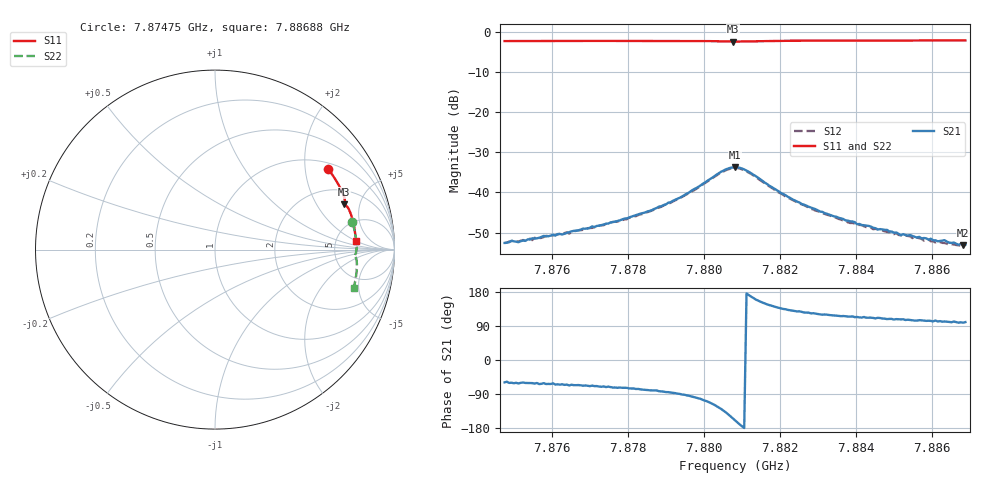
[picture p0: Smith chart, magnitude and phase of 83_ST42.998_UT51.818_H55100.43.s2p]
#  HZ  S  DB  R  50.00
! Rohde & Schwarz Vector Network Analyzer
! Rohde-Schwarz,ZNB20-2Port,1311601062101988,3.16
! Created: UTC 1/12/2023, 6:35:22 PM
! freq[Hz]  db:S11  ang:S11  db:S21  ang:S21  db:S12  ang:S12  db:S22  ang:S22
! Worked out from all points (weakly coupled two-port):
!   201 points, 7.87475 GHz to 7.88688 GHz, reference 50 ohm
!   highest |S21| = -33.74 dB at 7.88081 GHz (marker M1); lowest = -53.1 dB at 7.88682 GHz (marker M2)
!   lowest |S11| = -2.4 dB at 7.88075 GHz (marker M3), VSWR 7.43, Z = 148 + j178 ohm
!   |S11| at or under -10 dB: nowhere
!   |S22| runs from -2.2 to -1.9 dB; largest |S21 - S12| = 0.0014
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7.874746e9  -2.23 35.2  -52.59 -59.0  -52.63 -60.6  -2.15 11.2
7.876263e9  -2.21 31.1  -50.50 -64.0  -50.48 -67.8  -2.10 7.6
7.876809e9  -2.20 29.6  -49.04 -67.8  -49.33 -71.0  -2.09 6.3
7.877779e9  -2.19 27.0  -46.97 -72.5  -47.07 -76.4  -2.06 4.1
7.87881e9  -2.18 24.1  -43.52 -82.4  -43.79 -86.0  -2.05 1.6
7.879356e9  -2.19 22.5  -41.33 -89.4  -41.38 -92.8  -2.07 0.3
7.880448e9  -2.30 19.6  -34.82 -129.3  -35.06 -132.8  -2.17 -2.3
7.880751e9  -2.35 19.2  -33.78 -153.8  -33.92 -157.0  -2.22 -2.5
7.880812e9  -2.35 19.2  -33.74 -158.8  -33.93 -162.4  -2.22 -2.5
7.881115e9  -2.31 19.0  -34.55 175.5  -34.72 172.4  -2.19 -2.6
7.882025e9  -2.17 16.7  -40.16 136.1  -40.28 132.7  -2.03 -4.4
7.882874e9  -2.13 14.3  -43.98 123.4  -44.28 119.9  -1.99 -6.4
7.884026e9  -2.11 11.2  -47.95 113.5  -48.10 110.7  -1.96 -9.1
7.884875e9  -2.10 8.9  -49.75 108.5  -49.96 104.7  -1.94 -11.0
7.885179e9  -2.09 8.1  -50.69 107.1  -50.70 103.5  -1.94 -11.6
7.885482e9  -2.09 7.3  -50.85 105.0  -51.40 101.7  -1.93 -12.3
7.885543e9  -2.09 7.2  -51.09 104.0  -51.00 103.1  -1.93 -12.4
7.885785e9  -2.09 6.5  -51.37 103.8  -52.04 101.8  -1.93 -13.0
7.885907e9  -2.08 6.2  -51.78 103.5  -51.77 100.6  -1.92 -13.2
7.886331e9  -2.08 5.1  -51.92 101.7  -52.62 98.5  -1.92 -14.1
7.886816e9  -2.08 3.8  -53.13 98.4  -53.19 96.8  -1.92 -15.2
7.886877e9  -2.08 3.7  -53.00 100.0  -53.41 96.6  -1.92 -15.3
